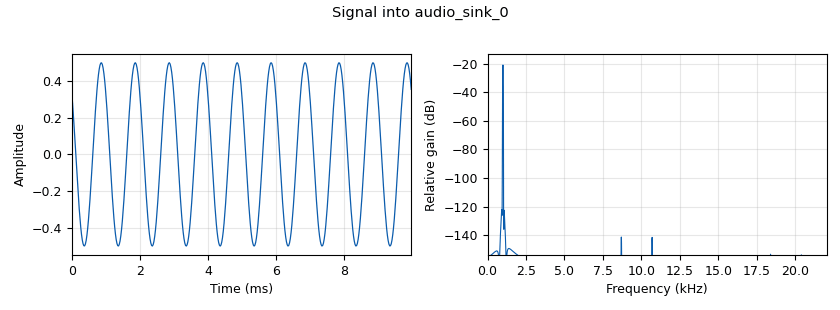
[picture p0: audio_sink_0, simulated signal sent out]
options:
  parameters:
    generate_options: qt_gui
    id: sound_test_with_sine
    output_language: python
    title: Sound test with sine
  states: {}

blocks:
- name: output_sound_scale
  id: variable_qtgui_range
  parameters:
    label: Sound scale
    start: '0'
    step: '0.01'
    stop: '1'
    value: '0.5'
    widget: slider
  states: {}
- name: samp_rate
  id: variable
  parameters:
    value: '44100'
  states: {}
- name: analog_sig_source_x_0
  id: analog_sig_source_x
  parameters:
    amp: '1'
    freq: '1000'
    offset: '0'
    phase: '0'
    samp_rate: samp_rate
    type: complex
    waveform: analog.GR_COS_WAVE
  states: {}
- name: audio_sink_0
  id: audio_sink
  parameters:
    samp_rate: samp_rate
  states: {}
- name: audio_source_0
  id: audio_source
  parameters:
    samp_rate: samp_rate
  states: {}
- name: blocks_complex_to_real_0
  id: blocks_complex_to_real
  parameters: {}
  states: {}
- name: blocks_multiply_const_vxx_0
  id: blocks_multiply_const_vxx
  parameters:
    const: output_sound_scale
    type: complex
  states: {}
- name: qtgui_time_sink_x_0
  id: qtgui_time_sink_x
  parameters:
    autoscale: 'True'
    size: '1024'
    srate: samp_rate
    type: float
  states: {}

connections:
- [analog_sig_source_x_0, '0', blocks_multiply_const_vxx_0, '0']
- [audio_source_0, '0', qtgui_time_sink_x_0, '0']
- [blocks_complex_to_real_0, '0', audio_sink_0, '0']
- [blocks_multiply_const_vxx_0, '0', blocks_complex_to_real_0, '0']

metadata:
  file_format: 1
  grc_version: 3.10.9.2
